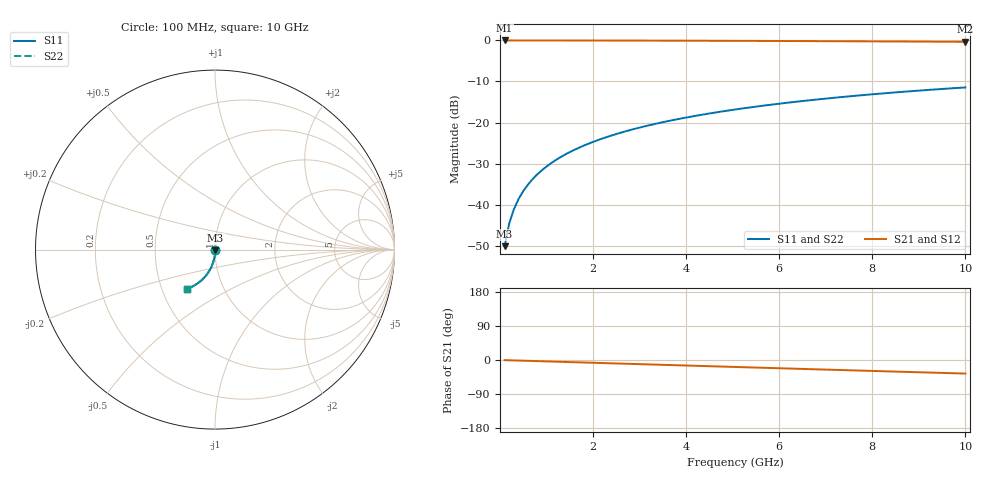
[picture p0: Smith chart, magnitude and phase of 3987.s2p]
# Hz S RI R 50.00
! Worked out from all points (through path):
!   100 points, 100 MHz to 10 GHz, reference 50 ohm
!   highest |S21| = -0.01 dB at 100 MHz (marker M1); lowest = -0.3 dB at 10 GHz (marker M2)
!   group delay of S21, straight-line fit = 9.96 ps
!   lowest |S11| = -50.1 dB at 100 MHz (marker M3), VSWR 1.01, Z = 50.1 - j0.293 ohm
!   |S11| at or under -10 dB: start of sweep to end of sweep
!   |S22| runs from -50.1 to -11.5 dB; largest |S21 - S12| = 0
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1e8  0.0011 -0.00292  0.9988 -0.00637  0.9988 -0.00637  0.0011 -0.00292
2e8  0.00105 -0.00584  0.9988 -0.0127  0.9988 -0.0127  0.00105 -0.00584
3e8  0.000957 -0.00876  0.9986 -0.0191  0.9986 -0.0191  0.000957 -0.00876
4e8  0.000827 -0.0117  0.9984 -0.0255  0.9984 -0.0255  0.000827 -0.0117
5e8  0.00066 -0.0146  0.9982 -0.0318  0.9982 -0.0318  0.00066 -0.0146
6e8  0.000454 -0.0175  0.9979 -0.0382  0.9979 -0.0382  0.000454 -0.0175
7e8  0.000212 -0.0204  0.9976 -0.0445  0.9976 -0.0445  0.000212 -0.0204
8e8  -6.79e-05 -0.0233  0.9972 -0.0509  0.9972 -0.0509  -6.79e-05 -0.0233
9e8  -0.000385 -0.0262  0.9968 -0.0572  0.9968 -0.0572  -0.000385 -0.0262
1.1e9  -0.00113 -0.032  0.9958 -0.0699  0.9958 -0.0699  -0.00113 -0.032
1.4e9  -0.00252 -0.0406  0.994 -0.0889  0.994 -0.0889  -0.00252 -0.0406
1.8e9  -0.00489 -0.0521  0.9908 -0.1141  0.9908 -0.1141  -0.00489 -0.0521
2.1e9  -0.00705 -0.0605  0.988 -0.1329  0.988 -0.1329  -0.00705 -0.0605
2.5e9  -0.0104 -0.0717  0.9835 -0.1579  0.9835 -0.1579  -0.0104 -0.0717
2.9e9  -0.0143 -0.0827  0.9782 -0.1826  0.9782 -0.1826  -0.0143 -0.0827
3.4e9  -0.02 -0.096  0.9707 -0.2132  0.9707 -0.2132  -0.02 -0.096
4.2e9  -0.0308 -0.1166  0.9562 -0.2614  0.9562 -0.2614  -0.0308 -0.1166
5.1e9  -0.0452 -0.1381  0.9367 -0.314  0.9367 -0.314  -0.0452 -0.1381
5.9e9  -0.06 -0.1557  0.9165 -0.3592  0.9165 -0.3592  -0.06 -0.1557
6.7e9  -0.0763 -0.1717  0.894 -0.4028  0.894 -0.4028  -0.0763 -0.1717
8.4e9  -0.1152 -0.1995  0.8391 -0.4892  0.8391 -0.4892  -0.1152 -0.1995
1e10  -0.1558 -0.2176  0.78 -0.5624  0.78 -0.5624  -0.1558 -0.2176
